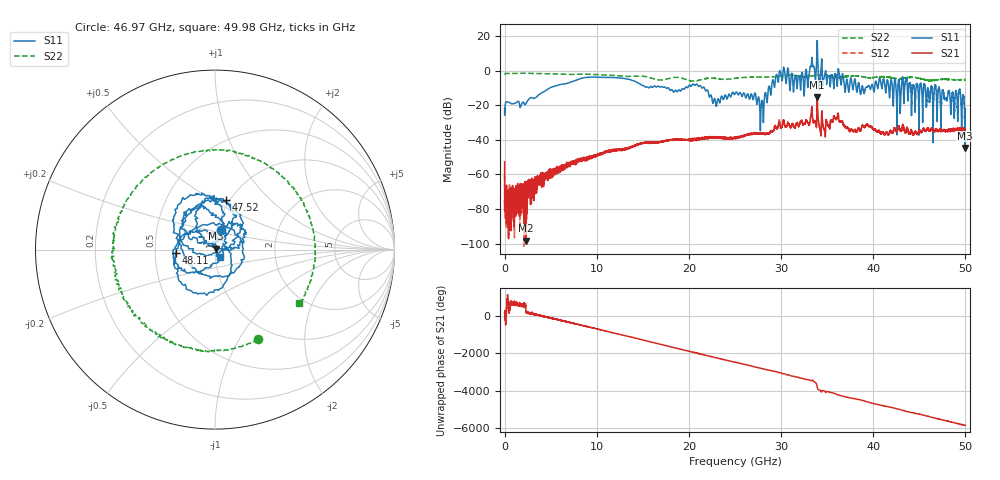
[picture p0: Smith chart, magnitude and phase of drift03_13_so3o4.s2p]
!Created with skrf (http://scikit-rf.org).
# Hz S RI R 50.0
!freq ReS11 ImS11 ReS21 ImS21 ReS12 ImS12 ReS22 ImS22
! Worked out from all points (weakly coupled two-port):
!   10001 points, 300 kHz to 50 GHz, reference 50 ohm
!   highest |S21| = -15.18 dB at 33.92 GHz (marker M1); lowest = -98.4 dB at 2.3 GHz (marker M2)
!   lowest |S11| = -44.6 dB at 49.95 GHz (marker M3), VSWR 1.01, Z = 50.3 + j0.509 ohm
!   |S11| at or under -10 dB: start of sweep to 4.849 GHz; 21.69 GHz to 28.62 GHz (6.933 GHz wide, 27.6 % of centre); 47.18 GHz to end of sweep (the widest 3 of 39)
!   |S22| runs from -5.9 to -1.3 dB; largest |S21 - S12| = 0.017
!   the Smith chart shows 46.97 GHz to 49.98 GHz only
!   S11 on the Smith chart (normalised r, x): 46.97 GHz: 1.05, +0.23; 47.52 GHz: 0.97, +0.58; 48.11 GHz: 0.64, -0.03; 49.98 GHz: 1.05, -0.08
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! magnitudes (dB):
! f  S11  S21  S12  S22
! 300 kHz  -21.5  -52.7  -60.6  -2.1
! 260.3 MHz  -17.9  -76.3  -73.6  -1.4
! 2.3 GHz  -19.1  -98.4  -67.7  -1.3
! 8.335 GHz  -4.3  -51.6  -51.8  -1.9
! 16.67 GHz  -8.8  -41.3  -41.3  -5.2
! 21.01 GHz  -8.8  -39.1  -39.5  -5.5
! 22.81 GHz  -16.2  -38.5  -38.7  -4.3
! 25 GHz  -13.4  -38.9  -38.8  -4.3
! 27.02 GHz  -15.8  -36.4  -36.1  -3.5
! 27.91 GHz  -17.1  -36.5  -36.4  -3.5
! 29.69 GHz  -6.5  -32.2  -31.6  -3.1
! 32.32 GHz  -1.5  -30.5  -30.7  -3.3
! 33.34 GHz  7.6  -20.8  -21.2  -2.9
! 33.92 GHz  17.6  -15.2  -15.5  -2.4
! 38.81 GHz  -9.0  -31.4  -32.0  -3.4
! 41.67 GHz  -9.0  -36.7  -36.8  -3.7
! 46.97 GHz  -18.9  -34.3  -34.7  -5.1
! 47.52 GHz  -11.0  -34.5  -34.6  -4.9
! 48.11 GHz  -13.2  -34.0  -34.4  -4.9
! 49.95 GHz  -44.6  -34.4  -34.2  -5.0
! 49.98 GHz  -26.6  -34.3  -34.3  -5.1
! 50 GHz  -22.0  -34.2  -33.9  -5.0
